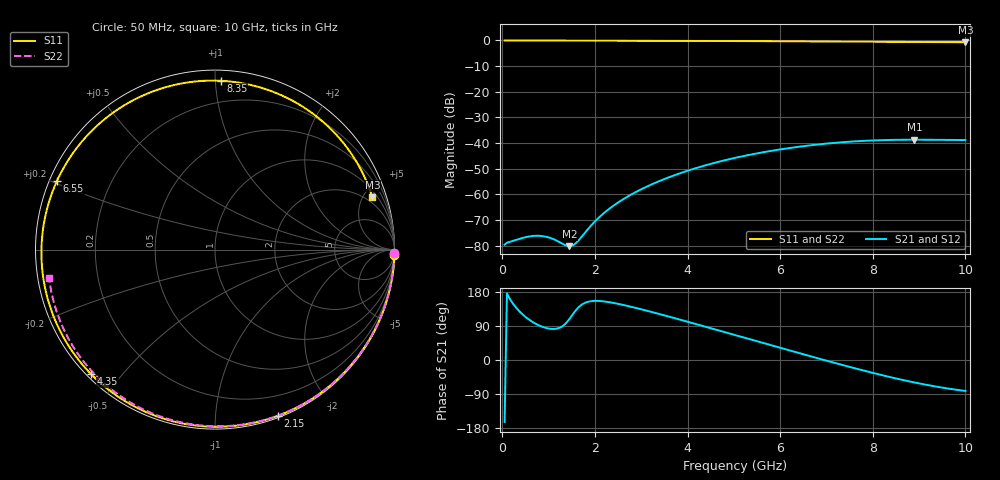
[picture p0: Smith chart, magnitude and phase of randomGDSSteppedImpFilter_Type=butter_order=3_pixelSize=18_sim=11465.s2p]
! freq	dB(S11)	phase(S11)	dB(S12)	phase(S12)
!  dB(S21)	phase(S21)	dB(S22)	phase(S22)
!S-par simulation data
#  GHz  S  DB  R 50
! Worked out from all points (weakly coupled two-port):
!   200 points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, 50 MHz to 10 GHz, reference 50 ohm
!   highest |S21| = -38.70 dB at 8.9 GHz (marker M1); lowest = -80.2 dB at 1.45 GHz (marker M2)
!   lowest |S11| = -0.7 dB at 10 GHz (marker M3), VSWR 25.27, Z = 73.1 + j291 ohm
!   |S11| at or under -10 dB: nowhere
!   |S22| runs from -0.6 to 0.0 dB; largest |S21 - S12| = 0
!   S11 on the Smith chart (normalised r, x): 50 MHz: 0, -69; 2.15 GHz: 0.02, -1.45; 4.35 GHz: 0.01, -0.42; 6.55 GHz: 0.02, +0.21; 8.35 GHz: 0.06, +1.03; 10 GHz: 1.46, +5.82
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0.05  -0.00 -1.7  -79.63 -163.5  -79.63 -163.5  -0.00 -1.0
0.45  -0.01 -14.9  -76.94 119.0  -76.94 119.0  -0.01 -8.8
0.75  -0.03 -24.7  -76.15 93.8  -76.15 93.8  -0.02 -14.7
1  -0.04 -32.9  -76.80 83.0  -76.80 83.0  -0.02 -19.5
1.45  -0.06 -47.3  -80.22 108.2  -80.22 108.2  -0.04 -28.2
1.55  -0.06 -50.5  -79.62 125.2  -79.62 125.2  -0.04 -30.1
1.75  -0.07 -56.8  -75.73 148.7  -75.73 148.7  -0.04 -33.9
2.15  -0.09 -69.2  -68.01 155.3  -68.01 155.3  -0.05 -41.4
2.7  -0.11 -86.0  -60.94 142.8  -60.94 142.8  -0.07 -51.5
3.4  -0.14 -106.9  -54.77 121.1  -54.77 121.1  -0.08 -64.1
4.35  -0.19 -134.9  -48.88 89.0  -48.88 89.0  -0.11 -80.6
5.05  -0.23 -155.7  -45.69 64.8  -45.69 64.8  -0.14 -92.3
5.8  -0.29 -178.8  -43.07 38.8  -43.07 38.8  -0.18 -104.4
6.55  -0.36 156.5  -41.11 13.3  -41.11 13.3  -0.22 -116.3
6.7  -0.37 151.3  -40.79 8.2  -40.79 8.2  -0.23 -118.6
7.15  -0.41 135.2  -39.97 -6.8  -39.97 -6.8  -0.26 -125.6
7.6  -0.46 118.2  -39.36 -21.4  -39.36 -21.4  -0.30 -132.6
8  -0.50 102.4  -38.99 -34.0  -38.99 -34.0  -0.33 -138.8
8.35  -0.53 88.1  -38.80 -44.4  -38.80 -44.4  -0.37 -144.2
8.9  -0.58 64.8  -38.70 -59.3  -38.70 -59.3  -0.43 -152.7
9.5  -0.63 39.2  -38.76 -72.9  -38.76 -72.9  -0.50 -162.3
10  -0.69 18.4  -38.83 -81.6  -38.83 -81.6  -0.56 -170.4
